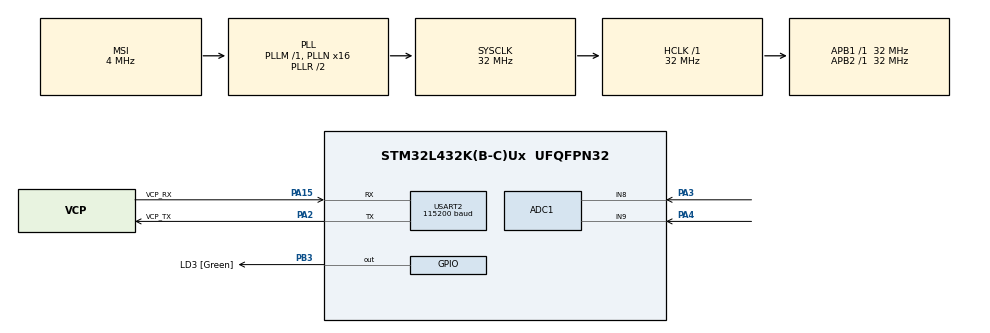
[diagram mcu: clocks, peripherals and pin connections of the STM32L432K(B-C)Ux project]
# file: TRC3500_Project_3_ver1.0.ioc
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ADC1.Channel-3\#ChannelRegularConversion=ADC_CHANNEL_8
ADC1.Channel-4\#ChannelRegularConversion=ADC_CHANNEL_9
ADC1.ClockPrescaler=ADC_CLOCK_ASYNC_DIV2
ADC1.ContinuousConvMode=DISABLE
ADC1.DMAContinuousRequests=ENABLE
ADC1.ExternalTrigConv=ADC_EXTERNALTRIG_T6_TRGO
ADC1.NbrOfConversion=2
ADC1.NbrOfConversionFlag=1
ADC1.OffsetNumber-3\#ChannelRegularConversion=ADC_OFFSET_NONE
ADC1.OffsetNumber-4\#ChannelRegularConversion=ADC_OFFSET_NONE
ADC1.Rank-3\#ChannelRegularConversion=1
ADC1.Rank-4\#ChannelRegularConversion=2
ADC1.SamplingTime-3\#ChannelRegularConversion=ADC_SAMPLETIME_2CYCLES_5
ADC1.SamplingTime-4\#ChannelRegularConversion=ADC_SAMPLETIME_2CYCLES_5
ADC1.master=1
Dma.ADC1.0.Direction=DMA_PERIPH_TO_MEMORY
Dma.ADC1.0.Instance=DMA1_Channel1
Dma.ADC1.0.MemDataAlignment=DMA_MDATAALIGN_HALFWORD
Dma.ADC1.0.MemInc=DMA_MINC_ENABLE
Dma.ADC1.0.Mode=DMA_NORMAL
Dma.ADC1.0.PeriphDataAlignment=DMA_PDATAALIGN_HALFWORD
Dma.ADC1.0.PeriphInc=DMA_PINC_DISABLE
Dma.ADC1.0.Priority=DMA_PRIORITY_HIGH
Dma.Request0=ADC1
Mcu.Family=STM32L4
Mcu.Name=STM32L432K(B-C)Ux
Mcu.Package=UFQFPN32
NVIC.DMA1_Channel1_IRQn=true\:0\:0\:false\:false\:true\:false\:true\:true
NVIC.PriorityGroup=NVIC_PRIORITYGROUP_4
NVIC.TIM6_DAC_IRQn=true\:0\:0\:false\:false\:true\:true\:true\:true
NVIC.USART2_IRQn=true\:0\:0\:false\:false\:true\:true\:true\:true
PA0.GPIO_Label=MCO [High speed clock in]
PA0.Mode=HSE-External-Clock-Source-for-LittleOrca
PA0.Signal=RCC_CK_IN
PA13\ (JTMS-SWDIO).GPIO_Label=SWDIO
PA13\ (JTMS-SWDIO).Mode=Serial_Wire
PA13\ (JTMS-SWDIO).Signal=SYS_JTMS-SWDIO
PA14\ (JTCK-SWCLK).GPIO_Label=SWCLK
PA14\ (JTCK-SWCLK).Mode=Serial_Wire
PA14\ (JTCK-SWCLK).Signal=SYS_JTCK-SWCLK
PA15\ (JTDI).GPIO_Label=VCP_RX
PA15\ (JTDI).Mode=Asynchronous
PA15\ (JTDI).Signal=USART2_RX
PA2.GPIO_Label=VCP_TX
PA2.Mode=Asynchronous
PA2.Signal=USART2_TX
PA3.Signal=ADCx_IN8
PA4.Signal=ADCx_IN9
PB3\ (JTDO-TRACESWO).GPIO_Label=LD3 [Green]
PB3\ (JTDO-TRACESWO).Signal=GPIO_Output
PC14-OSC32_IN\ (PC14).Mode=LSE-External-Oscillator
PC14-OSC32_IN\ (PC14).Signal=RCC_OSC32_IN
PC15-OSC32_OUT\ (PC15).Mode=LSE-External-Oscillator
PC15-OSC32_OUT\ (PC15).Signal=RCC_OSC32_OUT
ProjectManager.HeapSize=0x200
ProjectManager.StackSize=0x400
ProjectManager.TargetToolchain=STM32CubeIDE
RCC.ADCFreq_Value=32000000
RCC.AHBFreq_Value=32000000
RCC.APB1Freq_Value=32000000
RCC.APB1TimFreq_Value=32000000
RCC.APB2Freq_Value=32000000
RCC.APB2TimFreq_Value=32000000
RCC.CortexFreq_Value=32000000
RCC.HCLKFreq_Value=32000000
RCC.HSE_VALUE=8000000
RCC.HSI16_VALUE=16000000
RCC.HSI48_VALUE=48000000
RCC.HSI_VALUE=16000000
RCC.MSI_VALUE=4000000
RCC.PLLMUL=RCC_PLLMUL_4
RCC.PLLN=16
RCC.PLLSAI1N=16
RCC.SYSCLKFreq_VALUE=32000000
RCC.SYSCLKSource=RCC_SYSCLKSOURCE_PLLCLK
RCC.USBFreq_Value=32000000
RCC.VCOOutputFreq_Value=64000000
SH.ADCx_IN8.0=ADC1_IN8,IN8-Single-Ended
SH.ADCx_IN9.0=ADC1_IN9,IN9-Single-Ended
TIM6.AutoReloadPreload=TIM_AUTORELOAD_PRELOAD_DISABLE
TIM6.Period=10000 - 1
TIM6.Prescaler=32 - 1
TIM6.TIM_MasterOutputTrigger=TIM_TRGO_UPDATE
USART2.BaudRate=115200
USART2.VirtualMode-Asynchronous=VM_ASYNC
VP_TIM6_VS_ClockSourceINT.Mode=Enable_Timer
board=NUCLEO-L432KC

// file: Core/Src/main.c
/* USER CODE BEGIN Header */
/**
  ******************************************************************************
  * @file           : main.c
  * @brief          : Main program body
  ******************************************************************************
  * @attention
  *
  * Copyright (c) 2025 STMicroelectronics.
  * All rights reserved.
  *
  * This software is licensed under terms that can be found in the LICENSE file
  * in the root directory of this software component.
  * If no LICENSE file comes with this software, it is provided AS-IS.
  *
  ******************************************************************************
  */
/* USER CODE END Header */
#include "main.h"

/* USER CODE BEGIN PD */
#define NUM_CHANNELS 2
#define SAMPLE_SIZE 4500
/* USER CODE END PD */

ADC_HandleTypeDef hadc1;
DMA_HandleTypeDef hdma_adc1;

TIM_HandleTypeDef htim6;

UART_HandleTypeDef huart2;

/* USER CODE BEGIN PV */
uint16_t adcBuffer[NUM_CHANNELS * SAMPLE_SIZE];
volatile uint8_t adc_done = 0;
volatile uint8_t start_cycle = 0;
uint16_t ch0_data[SAMPLE_SIZE];
uint16_t ch1_data[SAMPLE_SIZE];

char msg[64];
uint32_t adc_value;
/* USER CODE END PV */

void SystemClock_Config(void);
static void MX_GPIO_Init(void);
static void MX_DMA_Init(void);
static void MX_USART2_UART_Init(void);
static void MX_ADC1_Init(void);
static void MX_TIM6_Init(void);
/* USER CODE BEGIN PFP */
void captureSamples(void);
/* USER CODE END PFP */

/* USER CODE BEGIN 0 */
//void captureSamples(void)
//{
//	HAL_ADC_Start(&hadc1);
//	HAL_ADC_PollForConversion(&hadc1, HAL_MAX_DELAzY);
//
//	adc_value = HAL_ADC_GetValue(&hadc1);
//
//	// Format the ADC value into a string
//	snprintf(msg, sizeof(msg), "%lu\n", adc_value);
//	HAL_UART_Transmit(&huart2, (uint8_t*)msg, strlen(msg), HAL_MAX_DELAY);
//
//	HAL_Delay(0.01); // 1ms sample rate
//}

void HAL_ADC_ConvCpltCallback(ADC_HandleTypeDef* hadc) {
    if (hadc->Instance == ADC1) {
        adc_done = 1; // Set flag when DMA is done
    }
}

void HAL_UART_RxCpltCallback(UART_HandleTypeDef *huart)
{
    if (huart->Instance == USART2)
    {
    	start_cycle = 1;
    	snprintf(msg, sizeof(msg), "starting process\n");
    	HAL_UART_Transmit(&huart2, (uint8_t*)msg, strlen(msg), HAL_MAX_DELAY);
    	HAL_Delay(10000);

    	snprintf(msg, sizeof(msg), "reading data\n");
    	HAL_UART_Transmit(&huart2, (uint8_t*)msg, strlen(msg), HAL_MAX_DELAY);

    	snprintf(msg, sizeof(msg), "reading data: %u\n", ch1_data[0]);
    	HAL_UART_Transmit(&huart2, (uint8_t*)msg, strlen(msg), HAL_MAX_DELAY);
        // Re-enable UART interrupt reception to detect next key press
        HAL_UART_Receive_IT(&huart2, (uint8_t*)msg, 1);
    }
}
/* USER CODE END 0 */

int main(void)
{

  /* MCU Configuration--------------------------------------------------------*/

  /* Reset of all peripherals, Initializes the Flash interface and the Systick. */
  HAL_Init();

  /* Configure the system clock */
  SystemClock_Config();

  /* Initialize all configured peripherals */
  MX_GPIO_Init();
  MX_DMA_Init();
  MX_USART2_UART_Init();
  MX_ADC1_Init();
  MX_TIM6_Init();
  /* USER CODE BEGIN 2 */
  HAL_TIM_Base_Start(&htim6);

  // Initialise DMA

  HAL_ADC_Start_DMA(&hadc1, (uint32_t*)adcBuffer, NUM_CHANNELS * SAMPLE_SIZE);
  HAL_UART_Receive_IT(&huart2, (uint8_t*)msg, 1);

  snprintf(msg, sizeof(msg), "Starting data capturing\n");
  HAL_UART_Transmit(&huart2, (uint8_t*)msg, strlen(msg), HAL_MAX_DELAY);

  // Wait for the DMA to finish the transfer
  while (!adc_done) {
	  HAL_Delay(1); // Wait for DMA to complete
  }
//  HAL_Delay(10000);

  // Process ADC data once DMA is complete
  snprintf(msg, sizeof(msg), "Data capture ended\n");
  for (int i = 0; i < SAMPLE_SIZE; ++i) {
	  ch0_data[i] = adcBuffer[i * NUM_CHANNELS + 0]; // Channel 0
	  ch1_data[i] = adcBuffer[i * NUM_CHANNELS + 1]; // Channel 1
  }

  //Send the data via UART
  snprintf(msg, sizeof(msg), "Channel 0 Data:\n");
  HAL_UART_Transmit(&huart2, (uint8_t*)msg, strlen(msg), HAL_MAX_DELAY);
  for (int i = 0; i < SAMPLE_SIZE; i++) {
	  snprintf(msg, sizeof(msg), "%u\n", adcBuffer[i * NUM_CHANNELS + 0]);
	  HAL_UART_Transmit(&huart2, (uint8_t*)msg, strlen(msg), HAL_MAX_DELAY);
  }

  snprintf(msg, sizeof(msg), "Channel 1 Data:\n");
  HAL_UART_Transmit(&huart2, (uint8_t*)msg, strlen(msg), HAL_MAX_DELAY);
  for (int i = 0; i < SAMPLE_SIZE; i++) {
	  snprintf(msg, sizeof(msg), "%u\n", adcBuffer[i * NUM_CHANNELS + 1]);
	  HAL_UART_Transmit(&huart2, (uint8_t*)msg, strlen(msg), HAL_MAX_DELAY);
  }

  /* USER CODE END 2 */

  /* Infinite loop */
  while (1)
  {

  }
}

void SystemClock_Config(void)
{
  RCC_OscInitTypeDef RCC_OscInitStruct = {0};
  RCC_ClkInitTypeDef RCC_ClkInitStruct = {0};

  /** Configure the main internal regulator output voltage
  */
  if (HAL_PWREx_ControlVoltageScaling(PWR_REGULATOR_VOLTAGE_SCALE1) != HAL_OK)
  {
    Error_Handler();
  }

  /** Configure LSE Drive Capability
  */
  HAL_PWR_EnableBkUpAccess();
  __HAL_RCC_LSEDRIVE_CONFIG(RCC_LSEDRIVE_LOW);

  /** Initializes the RCC Oscillators according to the specified parameters
  * in the RCC_OscInitTypeDef structure.
  */
  RCC_OscInitStruct.OscillatorType = RCC_OSCILLATORTYPE_LSE|RCC_OSCILLATORTYPE_MSI;
  RCC_OscInitStruct.LSEState = RCC_LSE_ON;
  RCC_OscInitStruct.MSIState = RCC_MSI_ON;
  RCC_OscInitStruct.MSICalibrationValue = 0;
  RCC_OscInitStruct.MSIClockRange = RCC_MSIRANGE_6;
  RCC_OscInitStruct.PLL.PLLState = RCC_PLL_ON;
  RCC_OscInitStruct.PLL.PLLSource = RCC_PLLSOURCE_MSI;
  RCC_OscInitStruct.PLL.PLLM = 1;
  RCC_OscInitStruct.PLL.PLLN = 16;
  RCC_OscInitStruct.PLL.PLLP = RCC_PLLP_DIV7;
  RCC_OscInitStruct.PLL.PLLQ = RCC_PLLQ_DIV2;
  RCC_OscInitStruct.PLL.PLLR = RCC_PLLR_DIV2;
  if (HAL_RCC_OscConfig(&RCC_OscInitStruct) != HAL_OK)
  {
    Error_Handler();
  }

  /** Initializes the CPU, AHB and APB buses clocks
  */
  RCC_ClkInitStruct.ClockType = RCC_CLOCKTYPE_HCLK|RCC_CLOCKTYPE_SYSCLK
                              |RCC_CLOCKTYPE_PCLK1|RCC_CLOCKTYPE_PCLK2;
  RCC_ClkInitStruct.SYSCLKSource = RCC_SYSCLKSOURCE_PLLCLK;
  RCC_ClkInitStruct.AHBCLKDivider = RCC_SYSCLK_DIV1;
  RCC_ClkInitStruct.APB1CLKDivider = RCC_HCLK_DIV1;
  RCC_ClkInitStruct.APB2CLKDivider = RCC_HCLK_DIV1;

  if (HAL_RCC_ClockConfig(&RCC_ClkInitStruct, FLASH_LATENCY_1) != HAL_OK)
  {
    Error_Handler();
  }

  /** Enable MSI Auto calibration
  */
  HAL_RCCEx_EnableMSIPLLMode();
}

static void MX_ADC1_Init(void)
{

  ADC_ChannelConfTypeDef sConfig = {0};

  /** Common config
  */
  hadc1.Instance = ADC1;
  hadc1.Init.ClockPrescaler = ADC_CLOCK_ASYNC_DIV2;
  hadc1.Init.Resolution = ADC_RESOLUTION_12B;
  hadc1.Init.DataAlign = ADC_DATAALIGN_RIGHT;
  hadc1.Init.ScanConvMode = ADC_SCAN_ENABLE;
  hadc1.Init.EOCSelection = ADC_EOC_SINGLE_CONV;
  hadc1.Init.LowPowerAutoWait = DISABLE;
  hadc1.Init.ContinuousConvMode = DISABLE;
  hadc1.Init.NbrOfConversion = 2;
  hadc1.Init.DiscontinuousConvMode = DISABLE;
  hadc1.Init.ExternalTrigConv = ADC_EXTERNALTRIG_T6_TRGO;
  hadc1.Init.ExternalTrigConvEdge = ADC_EXTERNALTRIGCONVEDGE_RISING;
  hadc1.Init.DMAContinuousRequests = ENABLE;
  hadc1.Init.Overrun = ADC_OVR_DATA_PRESERVED;
  hadc1.Init.OversamplingMode = DISABLE;
  if (HAL_ADC_Init(&hadc1) != HAL_OK)
  {
    Error_Handler();
  }

  /** Configure Regular Channel
  */
  sConfig.Channel = ADC_CHANNEL_8;
  sConfig.Rank = ADC_REGULAR_RANK_1;
  sConfig.SamplingTime = ADC_SAMPLETIME_2CYCLES_5;
  sConfig.SingleDiff = ADC_SINGLE_ENDED;
  sConfig.OffsetNumber = ADC_OFFSET_NONE;
  sConfig.Offset = 0;
  if (HAL_ADC_ConfigChannel(&hadc1, &sConfig) != HAL_OK)
  {
    Error_Handler();
  }

  /** Configure Regular Channel
  */
  sConfig.Channel = ADC_CHANNEL_9;
  sConfig.Rank = ADC_REGULAR_RANK_2;
  if (HAL_ADC_ConfigChannel(&hadc1, &sConfig) != HAL_OK)
  {
    Error_Handler();
  }

}

static void MX_TIM6_Init(void)
{

  TIM_MasterConfigTypeDef sMasterConfig = {0};

  htim6.Instance = TIM6;
  htim6.Init.Prescaler = 32 - 1;
  htim6.Init.CounterMode = TIM_COUNTERMODE_UP;
  htim6.Init.Period = 10000 - 1;
  htim6.Init.AutoReloadPreload = TIM_AUTORELOAD_PRELOAD_DISABLE;
  if (HAL_TIM_Base_Init(&htim6) != HAL_OK)
  {
    Error_Handler();
  }
  sMasterConfig.MasterOutputTrigger = TIM_TRGO_UPDATE;
  sMasterConfig.MasterSlaveMode = TIM_MASTERSLAVEMODE_DISABLE;
  if (HAL_TIMEx_MasterConfigSynchronization(&htim6, &sMasterConfig) != HAL_OK)
  {
    Error_Handler();
  }

}

static void MX_USART2_UART_Init(void)
{

  huart2.Instance = USART2;
  huart2.Init.BaudRate = 115200;
  huart2.Init.WordLength = UART_WORDLENGTH_8B;
  huart2.Init.StopBits = UART_STOPBITS_1;
  huart2.Init.Parity = UART_PARITY_NONE;
  huart2.Init.Mode = UART_MODE_TX_RX;
  huart2.Init.HwFlowCtl = UART_HWCONTROL_NONE;
  huart2.Init.OverSampling = UART_OVERSAMPLING_16;
  huart2.Init.OneBitSampling = UART_ONE_BIT_SAMPLE_DISABLE;
  huart2.AdvancedInit.AdvFeatureInit = UART_ADVFEATURE_NO_INIT;
  if (HAL_UART_Init(&huart2) != HAL_OK)
  {
    Error_Handler();
  }

}

static void MX_DMA_Init(void)
{

  /* DMA controller clock enable */
  __HAL_RCC_DMA1_CLK_ENABLE();

  /* DMA interrupt init */
  /* DMA1_Channel1_IRQn interrupt configuration */
  HAL_NVIC_SetPriority(DMA1_Channel1_IRQn, 0, 0);
  HAL_NVIC_EnableIRQ(DMA1_Channel1_IRQn);

}

static void MX_GPIO_Init(void)
{
  GPIO_InitTypeDef GPIO_InitStruct = {0};

  /* GPIO Ports Clock Enable */
  __HAL_RCC_GPIOC_CLK_ENABLE();
  __HAL_RCC_GPIOA_CLK_ENABLE();
  __HAL_RCC_GPIOB_CLK_ENABLE();

  /*Configure GPIO pin Output Level */
  HAL_GPIO_WritePin(LD3_GPIO_Port, LD3_Pin, GPIO_PIN_RESET);

  /*Configure GPIO pin : LD3_Pin */
  GPIO_InitStruct.Pin = LD3_Pin;
  GPIO_InitStruct.Mode = GPIO_MODE_OUTPUT_PP;
  GPIO_InitStruct.Pull = GPIO_NOPULL;
  GPIO_InitStruct.Speed = GPIO_SPEED_FREQ_LOW;
  HAL_GPIO_Init(LD3_GPIO_Port, &GPIO_InitStruct);

}

void Error_Handler(void)
{
  __disable_irq();
  while (1)
  {
  }
}
